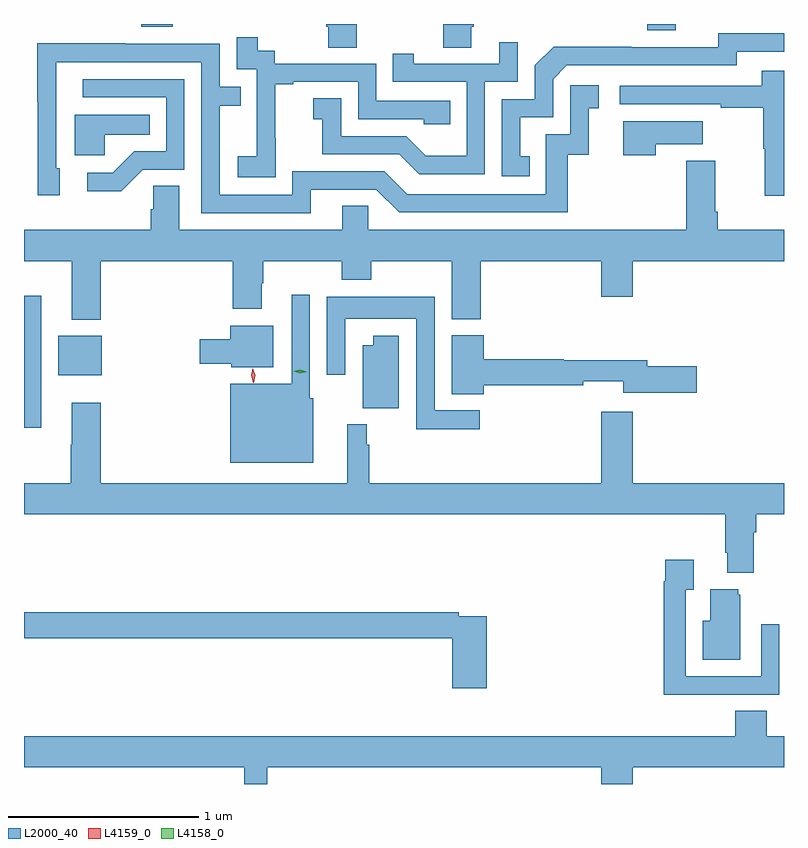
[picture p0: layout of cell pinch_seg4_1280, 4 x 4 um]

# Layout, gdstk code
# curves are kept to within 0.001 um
import gdstk
lib = gdstk.Library(unit=1e-6, precision=1e-09)
def R(c, l, rs):  # rectangles x0, y0, x1, y1
    for r in rs: c.add(gdstk.rectangle(r[:2], r[2:], *l))
def P(c, l, *ps):  # polygons
    for p in ps: c.add(gdstk.Polygon(p, *l))
L2000_40 = (2000, 40)
L4158_0 = (4158, 0)
L4159_0 = (4159, 0)

pinch_seg4_1280 = lib.new_cell('pinch_seg4_1280')
R(pinch_seg4_1280, L2000_40, [(353.777,773.298,353.868,773.995), (353.957,773.576,354.187,773.782), (357.056,775.391,357.208,775.424), (354.395,775.409,354.56,775.424)])
P(pinch_seg4_1280, L2000_40, [(355.527,775.424),(355.367,775.424),(355.367,775.41),(355.379,775.41),(355.379,775.3),(355.527,775.3)],
  [(356.131,775.41),(356.144,775.41),(356.144,775.424),(355.984,775.424),(355.984,775.3),(356.131,775.3)],
  [(356.438,774.729),(356.389,774.729),(356.389,774.933),(356.562,774.933),(356.562,775.134),(356.634,775.206),(357.528,775.206),(357.528,775.278),(357.777,775.278),(357.777,775.375),(357.432,775.375),(357.432,775.302),(356.972,775.302),(356.972,775.304),(356.564,775.304),(356.466,775.206),(356.466,775.029),(356.292,775.029),(356.292,774.624),(356.438,774.624)],
  [(355.101,774.823),(355.1,774.823),(355.1,775.107),(355.195,775.107),(355.195,775.119),(355.536,775.119),(355.536,774.924),(355.881,774.924),(355.881,774.897),(356.021,774.897),(356.021,775.02),(355.632,775.02),(355.632,775.215),(355.098,775.215),(355.098,775.284),(355.006,775.284),(355.006,775.354),(354.897,775.354),(354.897,775.185),(355.002,775.185),(355.002,774.956),(355.001,774.956),(355.001,774.727),(354.903,774.727),(354.903,774.617),(355.101,774.617)],
  [(356.202,775.119),(356.376,775.119),(356.376,775.327),(356.279,775.327),(356.279,775.215),(355.828,775.215),(355.828,775.267),(355.717,775.267),(355.717,775.119),(356.106,775.119),(356.106,774.73),(355.892,774.73),(355.788,774.834),(355.446,774.834),(355.446,775.033),(355.299,775.033),(355.299,774.923),(355.348,774.923),(355.348,774.738),(355.751,774.738),(355.856,774.633),(356.202,774.633)],
  [(355.285,774.552),(355.632,774.552),(355.752,774.432),(356.639,774.432),(356.639,774.735),(356.75,774.735),(356.75,774.981),(356.803,774.981),(356.803,775.102),(356.652,775.102),(356.652,774.843),(356.523,774.843),(356.523,774.528),(355.794,774.528),(355.674,774.648),(355.188,774.648),(355.188,774.525),(354.807,774.525),(354.807,774.994),(354.917,774.994),(354.917,775.095),(354.807,775.095),(354.807,775.32),(354.311,775.32),(354.311,775.322),(353.848,775.322),(353.848,775.015),(353.85,775.015),(353.85,774.522),(353.965,774.522),(353.965,774.666),(353.946,774.666),(353.947,775.224),(354.711,775.224),(354.711,774.429),(355.285,774.429)],
  [(357.777,775.177),(357.661,775.177),(357.661,775.098),(356.913,775.098),(356.913,775.002),(357.445,775.002),(357.445,774.982),(357.669,774.982),(357.669,774.768),(357.676,774.768),(357.676,774.519),(357.777,774.519)],
  [(354.402,774.657),(354.621,774.657),(354.621,775.134),(354.087,775.134),(354.087,775.038),(354.525,775.038),(354.525,774.753),(354.356,774.753),(354.245,774.642),(354.111,774.642),(354.111,774.545),(354.289,774.545)],
  [(354.201,774.842),(354.44,774.842),(354.44,774.946),(354.044,774.946),(354.044,774.734),(354.201,774.734)],
  [(357.101,774.791),(357.349,774.791),(357.349,774.913),(356.93,774.913),(356.93,774.732),(357.101,774.732)],
  [(354.182,774.176),(354.875,774.176),(354.875,773.925),(355.027,773.925),(355.027,774.059),(355.035,774.059),(355.035,774.176),(355.45,774.176),(355.45,774.077),(355.605,774.077),(355.605,774.176),(356.027,774.176),(356.027,773.87),(356.18,773.87),(356.18,774.176),(356.816,774.176),(356.816,773.988),(356.98,773.988),(356.98,774.176),(357.777,774.176),(357.777,774.34),(357.428,774.34),(357.428,774.436),(357.415,774.436),(357.415,774.703),(357.263,774.703),(357.263,774.34),(355.59,774.34),(355.59,774.467),(355.451,774.467),(355.451,774.34),(354.595,774.34),(354.595,774.572),(354.456,774.572),(354.456,774.449),(354.443,774.449),(354.443,774.34),(353.777,774.34),(353.777,774.176),(354.029,774.176),(354.029,773.867),(354.182,773.867)],
  [(355.3,773.454),(355.281,773.454),(355.281,773.998),(355.185,773.998),(355.185,773.53),(354.863,773.53),(354.863,773.114),(355.3,773.114)],
  [(356.176,773.391),(355.938,773.391),(355.938,773.989),(355.371,773.989),(355.371,773.577),(355.467,773.577),(355.467,773.873),(355.842,773.873),(355.842,773.29),(356.176,773.29)],
  [(355.09,773.836),(354.863,773.836),(354.863,773.766),(354.702,773.766),(354.702,773.636),(354.867,773.636),(354.867,773.618),(355.09,773.618)],
  [(356.198,773.524),(356.72,773.524),(356.72,773.543),(356.93,773.543),(356.93,773.482),(357.319,773.482),(357.319,773.624),(357.058,773.624),(357.058,773.653),(356.618,773.653),(356.618,773.66),(356.198,773.66),(356.198,773.785),(356.027,773.785),(356.027,773.476),(356.198,773.476)],
  [(355.75,773.782),(355.616,773.782),(355.616,773.734),(355.559,773.734),(355.559,773.402),(355.75,773.402)],
  [(357.619,772.748),(357.632,772.748),(357.632,772.844),(357.777,772.844),(357.777,773.008),(356.98,773.008),(356.98,773.383),(356.816,773.383),(356.816,773.008),(355.595,773.008),(355.595,773.21),(355.58,773.21),(355.58,773.317),(355.478,773.317),(355.478,773.008),(354.182,773.008),(354.182,773.431),(354.029,773.431),(354.029,773.21),(354.022,773.21),(354.022,773.008),(353.777,773.008),(353.777,772.844),(357.467,772.844),(357.467,772.642),(357.479,772.642),(357.479,772.535),(357.619,772.535)],
  [(357.437,771.894),(357.753,771.894),(357.753,772.264),(357.657,772.264),(357.657,771.99),(357.261,771.99),(357.261,772.447),(357.301,772.447),(357.301,772.603),(357.153,772.603),(357.153,772.49),(357.145,772.49),(357.145,771.893),(357.437,771.893)],
  [(357.547,772.419),(357.536,772.419),(357.536,772.45),(357.389,772.45),(357.389,772.282),(357.35,772.282),(357.35,772.079),(357.547,772.079)],
  [(356.213,772.308),(356.066,772.308),(356.066,772.328),(353.777,772.328),(353.777,772.192),(356.03,772.192),(356.03,771.927),(356.213,771.927)],
  [(355.057,771.512),(356.816,771.512),(356.816,771.424),(356.98,771.424),(356.98,771.512),(357.777,771.512),(357.777,771.676),(357.686,771.676),(357.686,771.809),(357.521,771.809),(357.521,771.676),(353.777,771.676),(353.777,771.512),(354.935,771.512),(354.935,771.424),(355.057,771.424)])
P(pinch_seg4_1280, L4158_0, [(355.23,773.585),(355.194,773.596),(355.194,773.597),(355.194,773.597),(355.231,773.605),(355.266,773.594),(355.266,773.593),(355.266,773.593)])
P(pinch_seg4_1280, L4159_0, [(354.984,773.537),(354.984,773.537),(354.973,773.575),(354.981,773.613),(354.982,773.613),(354.982,773.613),(354.993,773.575),(354.985,773.537)])

lib.write_gds('pinch_seg4_1280.gds')
